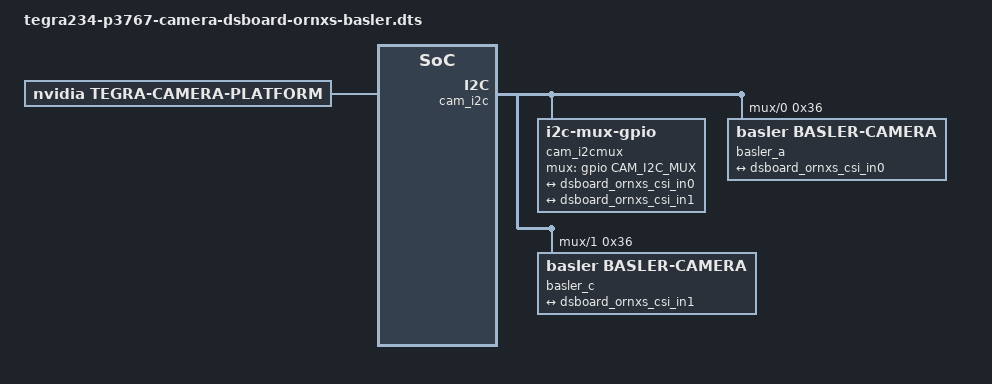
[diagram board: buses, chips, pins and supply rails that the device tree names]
// SPDX-License-Identifier: GPL-2.0-only
// SPDX-FileCopyrightText: Copyright (c) 2023-2024, NVIDIA CORPORATION & AFFILIATES. All rights reserved.

/dts-v1/;
/plugin/;

#include <dt-bindings/tegra234-p3767-0000-common.h>
#include <dt-bindings/clock/tegra234-clock.h>
#include <dt-bindings/gpio/tegra234-gpio.h>

#define CAM_I2C_MUX 	TEGRA234_MAIN_GPIO(Q, 6)

/ {
	overlay-name = "DSBOARD-ORNXS Basler 2*2-lane";
	jetson-header-name = "Jetson 24pin CSI Connector";
	compatible = JETSON_COMPATIBLE_P3768;

	fragment-camera@0 {
		target-path = "/";
		__overlay__ {

	tegra-capture-vi  {
		num-channels = <2>;
		ports {
			#address-cells = <1>;
			#size-cells = <0>;
			port@0 {
				reg = <0>;
				dsboard_ornxs_vi_in0: endpoint {
					port-index = <0>;
					bus-width = <2>;
					remote-endpoint = <&dsboard_ornxs_csi_out0>;
				};
			};
			port@1 {
				reg = <1>;
				dsboard_ornxs_vi_in1: endpoint {
					port-index = <2>;
					bus-width = <2>;
					remote-endpoint = <&dsboard_ornxs_csi_out1>;
				};
			};
		};
	};

	bus@0 {
		host1x@13e00000 {
			nvcsi@15a00000 {
				num-channels = <2>;
				#address-cells = <1>;
				#size-cells = <0>;
				channel@0 {
					reg = <0>;
					ports {
						#address-cells = <1>;
						#size-cells = <0>;
						port@0 {
							reg = <0>;
							dsboard_ornxs_csi_in0: endpoint@0 {
								port-index = <0>;
								bus-width = <2>;
								remote-endpoint = <&dsboard_ornxs_basler_out0>;
							};
						};
						port@1 {
							reg = <1>;
							dsboard_ornxs_csi_out0: endpoint@1 {
								remote-endpoint = <&dsboard_ornxs_vi_in0>;
							};
						};
					};
				};
				channel@1 {
					reg = <1>;
					ports {
						#address-cells = <1>;
						#size-cells = <0>;
						port@0 {
							reg = <0>;
							dsboard_ornxs_csi_in1: endpoint@2 {
								port-index = <2>;
								bus-width = <2>;
								remote-endpoint = <&dsboard_ornxs_basler_out1>;
							};
						};
						port@1 {
							reg = <1>;
							dsboard_ornxs_csi_out1: endpoint@3 {
								remote-endpoint = <&dsboard_ornxs_vi_in1>;
							};
						};
					};
				};
			};
		};

		cam_i2cmux {
			status = "okay";
			compatible = "i2c-mux-gpio";
			#address-cells = <1>;
			#size-cells = <0>;
			i2c-parent = <&cam_i2c>;
			mux-gpios = <&gpio CAM_I2C_MUX GPIO_ACTIVE_HIGH>;

			i2c@0 {
				status = "okay";
				reg = <0>;
				#address-cells = <1>;
				#size-cells = <0>;

				basler_a@36 {
					status = "okay";

					compatible = "basler,basler-camera";
					/* I2C device address */
					reg = <0x36>;

					/* V4L2 device node location */
					// devnode is deprecated
					//devnode = "video0";

					/* Physical dimensions of sensor */
					physical_w = "3.680";
					physical_h = "2.760";

					sensor_model = "basler-mcm";

					mode0 {
						tegra_sinterface = "serial_a";
						lane_polarity = "6";
					};

					ports {
						#address-cells = <1>;
						#size-cells = <0>;

						port@0 {
							reg = <0>;
							dsboard_ornxs_basler_out0: endpoint {
								port-index = <0>;
								bus-width = <2>;
								remote-endpoint = <&dsboard_ornxs_csi_in0>;
								data-lanes = <1 2>;
								clock-lanes = <0>;
								link-frequencies = /bits/ 64 <600000000>;
							};
						};
					};
				};
			};

			i2c@1 {
				status = "okay";
				reg = <1>;
				#address-cells = <1>;
				#size-cells = <0>;

				basler_c@36 {
					status = "okay";

					compatible = "basler,basler-camera";
					/* I2C device address */
					reg = <0x36>;

					/* V4L2 device node location */
					// devnode is deprecated
					//devnode = "video1";

					/* Physical dimensions of sensor */
					physical_w = "3.680";
					physical_h = "2.760";

					sensor_model = "basler-mcm";

					mode0 {
						tegra_sinterface = "serial_c";
						lane_polarity = "0";
					};

					ports {
						#address-cells = <1>;
						#size-cells = <0>;

						port@0 {
							reg = <0>;
							dsboard_ornxs_basler_out1: endpoint {
								port-index = <2>;
								bus-width = <2>;
								remote-endpoint = <&dsboard_ornxs_csi_in1>;
								data-lanes = <1 2>;
								clock-lanes = <0>;
								link-frequencies = /bits/ 64 <600000000>;
							};
						};
					};
				};
			};
		};
	};

	tegra-camera-platform {
		compatible = "nvidia, tegra-camera-platform";
		/**
		* Physical settings to calculate max ISO BW
		*
		* num_csi_lanes = <>;
		* Total number of CSI lanes when all cameras are active
		*
		* max_lane_speed = <>;
		* Max lane speed in Kbit/s
		*
		* min_bits_per_pixel = <>;
		* Min bits per pixel
		*
		* vi_peak_byte_per_pixel = <>;
		* Max byte per pixel for the VI ISO case
		*
		* vi_bw_margin_pct = <>;
		* Vi bandwidth margin in percentage
		*
		* max_pixel_rate = <>;
		* Max pixel rate in Kpixel/s for the ISP ISO case
		*
		* isp_peak_byte_per_pixel = <>;
		* Max byte per pixel for the ISP ISO case
		*
		* isp_bw_margin_pct = <>;
		* Isp bandwidth margin in percentage
		*/
		num_csi_lanes = <4>;
		max_lane_speed = <1500000>;
		min_bits_per_pixel = <10>;
		vi_peak_byte_per_pixel = <2>;
		vi_bw_margin_pct = <25>;
		max_pixel_rate = <240000>;
		isp_peak_byte_per_pixel = <5>;
		isp_bw_margin_pct = <25>;

		/**
		 * The general guideline for naming badge_info contains 3 parts, and is as follows,
		 * The first part is the camera_board_id for the module; if the module is in a FFD
		 * platform, then use the platform name for this part.
		 * The second part contains the position of the module, ex. "rear" or "front".
		 * The third part contains the last 6 characters of a part number which is found
		 * in the module's specsheet from the vendor.
		 */
		modules {
			module0 {
				badge = "dsboard_ornxs_front";
				position = "front";
				orientation = "1";
				drivernode0 {
					pcl_id = "v4l2_sensor";
					sysfs-device-tree = "/sys/firmware/devicetree/base/bus@0/cam_i2cmux/i2c@0/basler_a@36";
				};
			};
			module1 {
				badge = "dsboard_ornxs_rear";
				position = "rear";
				orientation = "1";
				drivernode0 {
					pcl_id = "v4l2_sensor";
					sysfs-device-tree = "/sys/firmware/devicetree/base/bus@0/cam_i2cmux/i2c@1/basler_c@36";
				};
			};
		};
	};

		}; //__overlay__ ends
	}; //fragment-camera@0 ends
};
